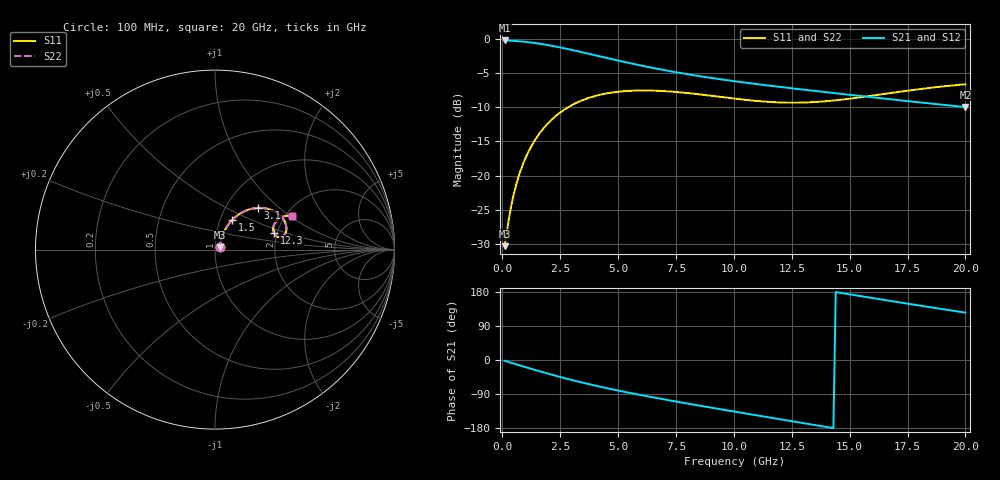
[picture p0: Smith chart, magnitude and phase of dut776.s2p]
! Touchstone file exported from HFSS 2024.1.0
!  File:  C:/UserFiles/LocalFiles/RDL_TSV_Batchsim/temp_RDL_TSV_776_1779904113.aedt
!  Generated:  02:05:18 AM May 28, 2026
!  Design:  RDL_TSV
!  Project:  temp_RDL_TSV_776_1779904113
!  Setup:  Setup1
!  Solution:  Sweep
! Variables:
!  dtsv = 5.64um
!  hbump = 3um
!  htsv = 55.44um
!  ldown = 394.3um
!  lrdl = 637.71um
!  p = 40
!  p1 = 50.3um
!  rhole = 10um
!  subl = 3733.74um
!  t = 450um
!  tdown = 2.39um
!  trdl = 4.74um
!  viad = 10um
!  wdown = 21.94um
!  wrdl = 10.25um
!  xbump = 18um
# GHz S MA R 50.000000
! Terminal data exported
! Port[1] = TM1_1_T1
! Port[2] = TM1_4_T1
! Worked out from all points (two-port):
!   200 points, 100 MHz to 20 GHz, reference 50 ohm
!   highest |S21| = -0.24 dB at 100 MHz (marker M1); lowest = -10.0 dB at 20 GHz (marker M2)
!   |S21| within 3 dB of the highest: start of sweep to 5.08 GHz
!   lowest |S11| = -30.3 dB at 100 MHz (marker M3), VSWR 1.06, Z = 52.8 + j1.41 ohm
!   |S11| at or under -10 dB: start of sweep to 2.845 GHz
!   |S22| runs from -30.3 to -6.6 dB; largest |S21 - S12| = 9.9e-15
!   S11 on the Smith chart (normalised r, x): 100 MHz: 1.06, +0.03; 1.5 GHz: 1.14, +0.39; 3.1 GHz: 1.41, +0.74; 12.3 GHz: 1.92, +0.41; 20 GHz: 2.15, +1.02
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0.1  0.03046 26.0  0.9727 -1.9  0.9727 -1.9  0.03046 26.0
! Gamma 0 0 0 0
! Port Impedance 50 0 50 0
0.3  0.04999 51.6  0.9702 -5.8  0.9702 -5.8  0.04999 51.6
0.4  0.0617 56.7  0.9682 -7.7  0.9682 -7.7  0.0617 56.7
0.7  0.09795 62.4  0.9604 -13.3  0.9604 -13.3  0.09795 62.4
1.1  0.1458 62.4  0.9459 -20.6  0.9459 -20.6  0.1458 62.4
1.5  0.1915 59.8  0.9269 -27.8  0.9269 -27.8  0.1914 59.8
1.9  0.2337 56.2  0.9041 -34.8  0.9041 -34.8  0.2337 56.2
2.3  0.2718 52.2  0.8785 -41.6  0.8785 -41.6  0.2718 52.2
3.1  0.3341 44.1  0.8225 -54.3  0.8225 -54.3  0.3339 44.0
3.5  0.358 40.2  0.7938 -60.3  0.7938 -60.3  0.3578 40.1
4.2  0.3892 33.8  0.745 -70.1  0.745 -70.1  0.3889 33.8
5.1  0.4118 26.8  0.6875 -81.9  0.6875 -81.9  0.4114 26.7
5.9  0.4189 21.6  0.6425 -91.6  0.6425 -91.6  0.4184 21.5
6.8  0.4162 17.0  0.5989 -101.9  0.5989 -101.9  0.4156 16.9
8.4  0.3946 11.9  0.5371 -119.2  0.5371 -119.2  0.3939 11.9
10.1  0.3642 11.0  0.4877 -136.9  0.4877 -136.9  0.3635 11.0
12.3  0.3413 15.8  0.4386 -159.5  0.4386 -159.5  0.3407 15.9
13.4  0.3441 19.4  0.4176 -170.6  0.4176 -170.6  0.3436 19.5
15  0.3648 23.8  0.3896 173.2  0.3896 173.2  0.3646 23.9
16.7  0.3999 25.9  0.3622 156.4  0.3622 156.4  0.3999 26.0
18.3  0.4345 25.5  0.3389 141.0  0.3389 141.0  0.4347 25.6
20  0.4651 23.6  0.3171 125.0  0.3171 125.0  0.4653 23.6
